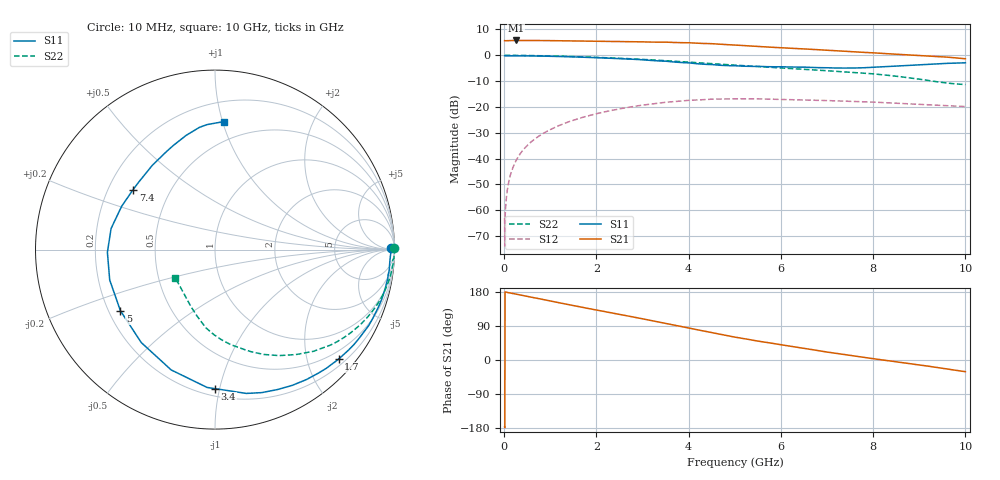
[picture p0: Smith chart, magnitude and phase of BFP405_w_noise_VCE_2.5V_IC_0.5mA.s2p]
! Infineon Technologies  Discrete & RF Semiconductors
! BFP405
! VCE =  2.5 V,  IC =  0.5 mA
! Common Emitter S-Parameters:  Jan 2016
# GHz  S  MA  R  50
!  f  S11  S21  S12  S22
! GHz  MAG  ANG  MAG  ANG  MAG  ANG  MAG  ANG
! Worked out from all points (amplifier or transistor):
!   233 points, 10 MHz to 10 GHz, reference 50 ohm
!   highest |S21| = 5.8 dB at 260 MHz (marker M1)
!   |S21| within 3 dB of that: start of sweep to 6.182 GHz
!   unconditionally stable (mu >= 1): 14.59 MHz to 15.21 MHz; 5.591 GHz to end of sweep
!   at 200 MHz: K = 0.00, MSG = 24.4 dB, |S12| = -43.1 dB
!   at 1.74 GHz: K = 0.17, MSG = 14.7 dB, |S12| = -23.8 dB
!   at 10 GHz: K = 2.45, MAG = 2.6 dB, |S12| = -19.9 dB
!   lowest NFmin = 0.78 dB at 900 MHz
!   S11 on the Smith chart (normalised r, x): 10 MHz: 82, +26; 1.7 GHz: 0.33, -2.60; 3.4 GHz: 0.25, -0.97; 5 GHz: 0.25, -0.28; 7.4 GHz: 0.30, +0.30; 10 GHz: 0.35, +1.01
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0.01  0.978 0.4  1.926 -176.8  0.0007 -57.1  1 0.5
0.015  0.9783 -0.0  1.919 -178.7  0.0002 16.4  0.9982 0.4
0.02  0.9787 -0.4  1.914 179.4  0.0007 90.0  0.9965 0.2
0.03  0.9789 -0.7  1.913 179.3  0.0011 86.5  0.9974 -0.0
0.055  0.9791 -1.4  1.913 178.9  0.002 84.8  0.9993 -0.5
0.135  0.9768 -3.0  1.928 176.8  0.0048 89.1  0.9985 -1.9
0.26  0.9762 -6.1  1.939 173.9  0.0092 87.2  0.9917 -3.7
0.46  0.9738 -10.9  1.932 168.9  0.0164 84.5  0.9922 -6.3
0.78  0.9663 -18.6  1.93 161.1  0.0282 79.9  0.982 -10.8
1.68  0.9213 -41.0  1.892 139.4  0.0619 65.5  0.9341 -22.9
1.7  0.9203 -41.5  1.891 138.9  0.0627 65.2  0.9328 -23.2
2.6  0.8537 -66.0  1.84 118.0  0.095 49.6  0.8687 -34.4
3.4  0.7746 -90.0  1.798 99.0  0.1198 34.4  0.7968 -44.6
4  0.7135 -110.0  1.749 84.3  0.134 23.2  0.7381 -52.4
4.5  0.6612 -128.4  1.679 72.1  0.1411 13.8  0.6904 -58.8
5  0.6275 -147.1  1.586 60.4  0.1437 5.0  0.6446 -65.0
5.1  0.6199 -150.4  1.562 58.4  0.1434 3.5  0.6363 -66.0
6  0.5997 -178.6  1.402 40.2  0.1402 -9.2  0.5686 -75.4
6.8  0.5765 160.6  1.283 25.0  0.1342 -17.9  0.515 -83.9
7.4  0.5656 143.8  1.193 13.9  0.1291 -23.3  0.4764 -90.3
8.4  0.6099 116.2  1.062 -3.1  0.119 -31.1  0.4024 -102.0
10  0.7154 85.9  0.857 -30.9  0.1017 -35.9  0.271 -144.7
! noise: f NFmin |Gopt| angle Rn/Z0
0.9  0.78  0.8  16  0.85
1.8  1.31  0.68  35  0.8
2.4  1.61  0.59  48  0.67
3  1.86  0.58  63  0.64
4  2.16  0.46  92  0.41
5  2.4  0.46  126  0.24
